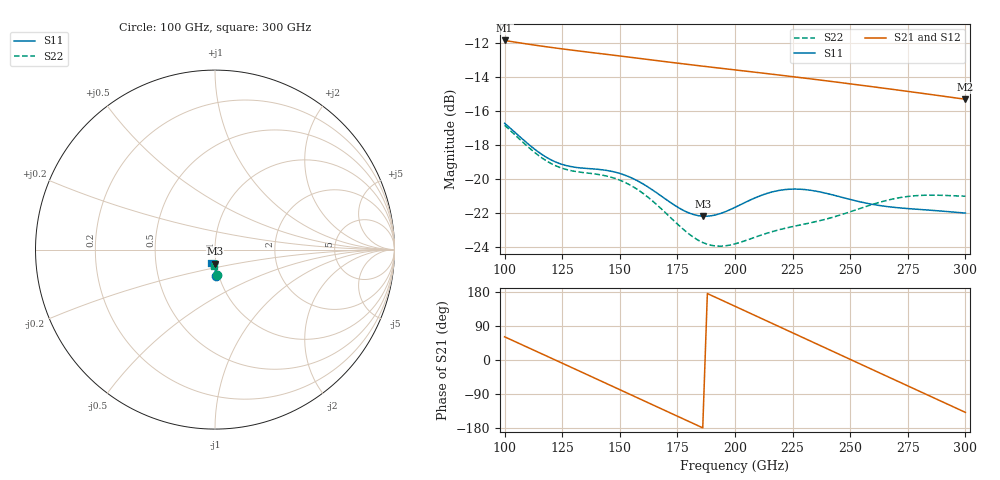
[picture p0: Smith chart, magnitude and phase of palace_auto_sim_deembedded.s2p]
! Created with skrf 1.11.0 (http://scikit-rf.org).
# GHz S DB R 50.0
!freq dBS11 angS11 dBS21 angS21 dBS12 angS12 dBS22 angS22
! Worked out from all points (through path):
!   101 points, 100 GHz to 300 GHz, reference 50 ohm
!   highest |S21| = -11.83 dB at 100 GHz (marker M1); lowest = -15.3 dB at 300 GHz (marker M2)
!   group delay of S21, straight-line fit = 7.77 ps
!   lowest |S11| = -22.2 dB at 186 GHz (marker M3), VSWR 1.17, Z = 49.4 - j7.72 ohm
!   |S11| at or under -10 dB: start of sweep to end of sweep
!   |S22| runs from -24.0 to -16.8 dB; largest |S21 - S12| = 2.4e-13
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100  -16.72 -87.3  -11.83 61.2  -11.83 61.2  -16.83 -85.2
110  -17.91 -89.6  -12.04 33.4  -12.04 33.4  -18.09 -87.4
118  -18.71 -89.2  -12.19 11.1  -12.19 11.1  -18.92 -86.8
126  -19.19 -87.9  -12.34 -11.2  -12.34 -11.2  -19.42 -85.5
134  -19.37 -87.5  -12.48 -33.5  -12.48 -33.5  -19.62 -85.3
144  -19.49 -89.3  -12.64 -61.5  -12.64 -61.5  -19.83 -87.6
152  -19.77 -92.0  -12.78 -83.9  -12.78 -83.9  -20.19 -90.9
160  -20.29 -94.6  -12.91 -106.3  -12.91 -106.3  -20.85 -94.0
168  -21.01 -95.7  -13.05 -128.7  -13.05 -128.7  -21.77 -95.8
178  -21.89 -93.6  -13.21 -156.7  -13.21 -156.7  -23.03 -94.1
186  -22.20 -89.7  -13.34 -179.1  -13.34 -179.1  -23.76 -89.5
200  -21.68 -84.7  -13.56 141.8  -13.56 141.8  -23.84 -80.6
208  -21.16 -85.3  -13.69 119.4  -13.69 119.4  -23.48 -78.0
216  -20.78 -87.7  -13.82 96.9  -13.82 96.9  -23.12 -77.2
224  -20.61 -91.2  -13.95 74.5  -13.95 74.5  -22.85 -77.2
234  -20.70 -95.4  -14.11 46.5  -14.11 46.5  -22.56 -77.3
242  -20.93 -98.1  -14.25 24.1  -14.25 24.1  -22.28 -77.5
250  -21.21 -99.8  -14.39 1.7  -14.39 1.7  -21.94 -78.2
258  -21.46 -100.8  -14.53 -20.7  -14.53 -20.7  -21.58 -79.8
268  -21.67 -101.5  -14.71 -48.7  -14.71 -48.7  -21.20 -82.9
284  -21.84 -103.0  -15.00 -93.5  -15.00 -93.5  -20.96 -88.9
300  -22.02 -104.8  -15.30 -138.2  -15.30 -138.2  -21.02 -93.7
